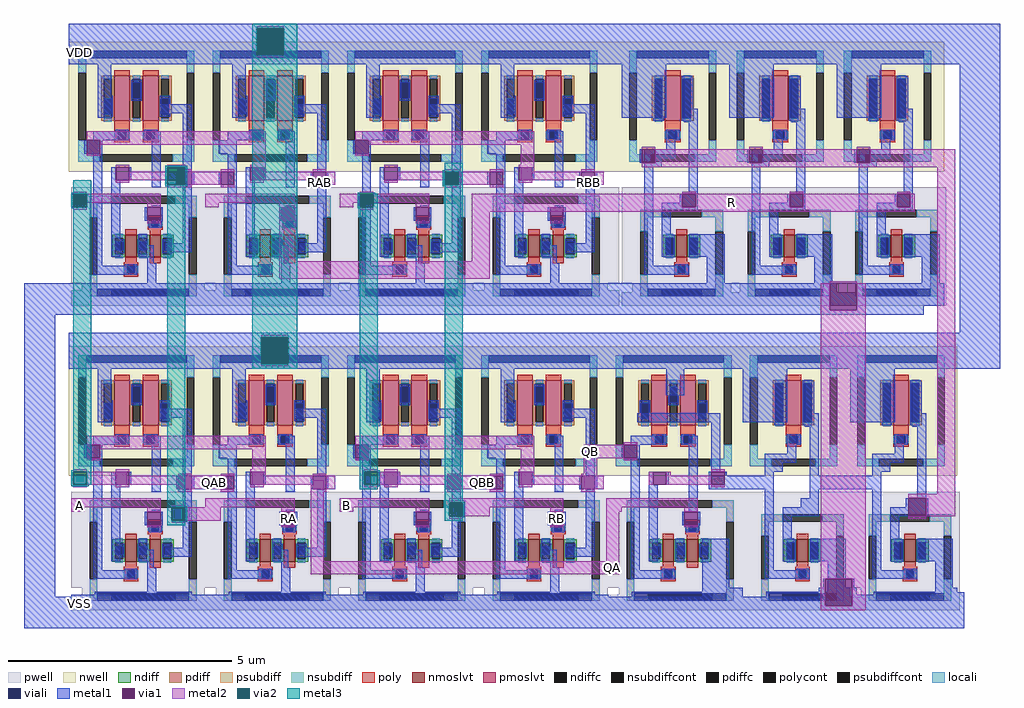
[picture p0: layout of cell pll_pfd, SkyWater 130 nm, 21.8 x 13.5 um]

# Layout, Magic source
magic
tech sky130A
magscale 1 2
<< metal1 >>
rect 0 2600 4160 2620
rect 0 2480 840 2600
rect 960 2480 4160 2600
rect 0 2440 4160 2480
rect 70 2040 80 2100
rect 140 2040 150 2100
rect 1270 2040 1280 2100
rect 1340 2040 1350 2100
rect 2550 2000 2560 2060
rect 2620 2000 2630 2060
rect 3030 2000 3040 2060
rect 3100 2000 3110 2060
rect 3510 2000 3520 2060
rect 3580 2000 3590 2060
rect 670 1900 680 1960
rect 740 1900 750 1960
rect 1870 1900 1880 1960
rect 1940 1900 1950 1960
rect 2730 1800 2740 1860
rect 2800 1800 2810 1860
rect 3210 1800 3220 1860
rect 3280 1800 3290 1860
rect 3690 1800 3700 1860
rect 3760 1800 3770 1860
rect -200 1340 3400 1460
rect 3520 1340 3820 1460
rect -200 1320 3820 1340
rect -200 60 -60 1320
rect 3980 1240 4160 2440
rect 0 1220 4160 1240
rect 0 1100 860 1220
rect 980 1100 4160 1220
rect 0 1080 4160 1100
rect 70 680 80 740
rect 140 680 150 740
rect 1270 680 1280 740
rect 1340 680 1350 740
rect 2470 680 2480 740
rect 2540 680 2550 740
rect 670 540 680 600
rect 740 540 750 600
rect 1870 540 1880 600
rect 1940 540 1950 600
rect 2860 540 3140 600
rect 3320 540 3610 600
rect 3740 420 3750 500
rect 3830 420 3840 500
rect 3370 100 3380 140
rect 3350 60 3380 100
rect -200 20 3380 60
rect 3500 100 3510 140
rect 3500 70 3520 100
rect 3940 70 4000 80
rect 3500 20 4000 70
rect -200 -80 4000 20
<< via1 >>
rect 840 2480 960 2600
rect 80 2040 140 2100
rect 1280 2040 1340 2100
rect 2560 2000 2620 2060
rect 3040 2000 3100 2060
rect 3520 2000 3580 2060
rect 680 1900 740 1960
rect 1880 1900 1940 1960
rect 2740 1800 2800 1860
rect 3220 1800 3280 1860
rect 3700 1800 3760 1860
rect 3400 1340 3520 1460
rect 860 1100 980 1220
rect 80 680 140 740
rect 1280 680 1340 740
rect 2480 680 2540 740
rect 680 540 740 600
rect 1880 540 1940 600
rect 3750 420 3830 500
rect 3380 20 3500 140
<< metal2 >>
rect 840 2600 960 2610
rect 840 2470 960 2480
rect 80 2100 880 2140
rect 140 2080 880 2100
rect 80 2030 140 2040
rect 440 1980 520 1990
rect 680 1960 740 1970
rect 520 1900 680 1960
rect 820 1920 880 2080
rect 1280 2100 2080 2140
rect 1340 2080 2080 2100
rect 1280 2030 1340 2040
rect 1680 1960 1740 1970
rect 1880 1960 1940 1970
rect 440 1890 520 1900
rect 680 1890 740 1900
rect 1740 1900 1880 1960
rect 2020 1920 2080 2080
rect 2560 2060 2620 2070
rect 3040 2060 3100 2070
rect 3520 2060 3580 2070
rect 2620 2000 3040 2060
rect 3100 2000 3520 2060
rect 3580 2000 3960 2060
rect 2560 1980 3960 2000
rect 1680 1890 1740 1900
rect 1880 1890 1940 1900
rect 20 1860 80 1870
rect 1300 1860 1360 1870
rect 2740 1860 2800 1870
rect 3220 1860 3280 1870
rect 3700 1860 3760 1870
rect 20 1790 80 1800
rect 940 1560 1020 1820
rect 1300 1790 1360 1800
rect 1800 1800 2740 1860
rect 2800 1800 3220 1860
rect 3280 1800 3700 1860
rect 3760 1800 3780 1860
rect 1800 1780 3780 1800
rect 1800 1560 1880 1780
rect 940 1480 1880 1560
rect 3400 1460 3520 1470
rect 3360 1340 3400 1460
rect 3520 1340 3560 1460
rect 860 1220 980 1230
rect 860 1090 980 1100
rect 80 740 880 780
rect 140 720 880 740
rect 80 670 140 680
rect 20 620 80 630
rect 80 560 260 620
rect 680 600 740 610
rect 20 550 80 560
rect 480 540 680 600
rect 820 560 880 720
rect 1280 740 2080 780
rect 2480 740 2540 750
rect 1340 720 2080 740
rect 1280 670 1340 680
rect 1320 620 1380 630
rect 680 530 740 540
rect 460 460 520 470
rect 520 400 680 460
rect 460 390 520 400
rect 1080 220 1140 580
rect 1380 560 1480 620
rect 1880 600 1940 610
rect 1320 550 1380 560
rect 1680 540 1880 600
rect 2020 560 2080 720
rect 2300 680 2480 740
rect 2300 540 2360 680
rect 2480 670 2540 680
rect 1880 530 1940 540
rect 1700 480 1880 500
rect 1760 420 1880 480
rect 1700 410 1760 420
rect 2400 220 2460 500
rect 1080 160 2460 220
rect 3360 140 3560 1340
rect 3880 520 3960 1980
rect 3750 500 3960 520
rect 3830 420 3960 500
rect 3750 410 3830 420
rect 3360 20 3380 140
rect 3500 20 3560 140
rect 3360 0 3560 20
<< via2 >>
rect 840 2480 960 2600
rect 440 1900 520 1980
rect 1680 1900 1740 1960
rect 20 1800 80 1860
rect 1300 1800 1360 1860
rect 860 1100 980 1220
rect 20 560 80 620
rect 460 400 520 460
rect 1320 560 1380 620
rect 1700 420 1760 480
<< metal3 >>
rect 820 2600 1020 2620
rect 820 2480 840 2600
rect 960 2480 1020 2600
rect 430 1980 530 1985
rect 20 1865 100 1920
rect 430 1900 440 1980
rect 520 1900 530 1980
rect 430 1895 530 1900
rect 10 1860 100 1865
rect 10 1800 20 1860
rect 80 1800 100 1860
rect 10 1795 100 1800
rect 20 625 100 1795
rect 10 620 100 625
rect 10 560 20 620
rect 80 560 100 620
rect 10 555 90 560
rect 440 465 520 1895
rect 820 1220 1020 2480
rect 1680 1965 1760 2000
rect 1670 1960 1760 1965
rect 1670 1900 1680 1960
rect 1740 1900 1760 1960
rect 1670 1895 1760 1900
rect 1290 1860 1370 1865
rect 1290 1800 1300 1860
rect 1360 1800 1380 1860
rect 1290 1795 1380 1800
rect 820 1100 860 1220
rect 980 1100 1020 1220
rect 820 1080 1020 1100
rect 1300 625 1380 1795
rect 1300 620 1390 625
rect 1300 560 1320 620
rect 1380 560 1390 620
rect 1300 555 1390 560
rect 1300 540 1380 555
rect 1680 485 1760 1895
rect 1680 480 1770 485
rect 440 460 530 465
rect 440 400 460 460
rect 520 400 530 460
rect 1680 420 1700 480
rect 1760 420 1770 480
rect 1680 415 1770 420
rect 1680 400 1760 415
rect 440 395 530 400
rect 440 380 520 395
use pll_inv1  pll_inv1_0
transform 1 0 3110 0 1 60
box -110 -60 390 1120
use pll_inv1  pll_inv1_1
transform 1 0 3050 0 1 1420
box -110 -60 390 1120
use pll_inv1  pll_inv1_2
transform 1 0 3590 0 1 60
box -110 -60 390 1120
use pll_inv1  pll_inv1_3
transform 1 0 2570 0 1 1420
box -110 -60 390 1120
use pll_inv1  pll_inv1_4
transform 1 0 3530 0 1 1420
box -110 -60 390 1120
use pll_nand  pll_nand_0
transform 1 0 2510 0 1 60
box -110 -60 550 1120
use pll_nor  pll_nor_0
transform 1 0 710 0 1 1420
box -110 -60 550 1120
use pll_nor  pll_nor_1
transform 1 0 110 0 1 1420
box -110 -60 550 1120
use pll_nor  pll_nor_2
transform 1 0 1910 0 1 1420
box -110 -60 550 1120
use pll_nor  pll_nor_3
transform 1 0 1310 0 1 1420
box -110 -60 550 1120
use pll_nor  pll_nor_4
transform 1 0 1310 0 1 60
box -110 -60 550 1120
use pll_nor  pll_nor_5
transform 1 0 1910 0 1 60
box -110 -60 550 1120
use pll_nor  pll_nor_6
transform 1 0 710 0 1 60
box -110 -60 550 1120
use pll_nor  pll_nor_7
transform 1 0 110 0 1 60
box -110 -60 550 1120
<< labels >>
flabel metal2 20 440 80 500 0 FreeSans 1280 0 0 0 A
port 0 nsew
flabel metal2 1210 440 1270 500 0 FreeSans 1280 0 0 0 B
port 1 nsew
flabel metal2 2400 160 2460 220 0 FreeSans 1280 0 0 0 QA
port 2 nsew
flabel metal2 2300 680 2360 740 0 FreeSans 1280 0 0 0 QB
port 3 nsew
flabel metal2 2920 1780 3000 1860 0 FreeSans 1280 0 0 0 R
port 4 nsew
flabel metal2 620 540 680 600 0 FreeSans 640 0 0 0 QAB
flabel metal2 1820 540 1880 600 0 FreeSans 640 0 0 0 QBB
flabel metal2 1090 1900 1150 1920 0 FreeSans 640 0 0 0 RAB
flabel metal2 2290 1900 2350 1920 0 FreeSans 640 0 0 0 RBB
flabel metal1 0 2440 100 2540 0 FreeSans 1280 0 0 0 VDD
port 6 nsew
flabel metal2 2150 380 2210 440 0 FreeSans 640 0 0 0 RB
flabel metal2 950 380 1010 440 0 FreeSans 640 0 0 0 RA
flabel metal1 0 0 100 60 0 FreeSans 1280 0 0 0 VSS
port 5 nsew
<< end >>

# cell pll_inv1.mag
magic
tech sky130A
magscale 1 2
<< nwell >>
rect -110 540 380 1120
<< pwell >>
rect -100 40 390 470
rect 280 0 390 40
rect -100 -60 390 0
<< metal1 >>
rect -100 1020 380 1120
rect -100 780 100 1020
rect 180 820 220 960
rect 180 760 240 820
rect 100 640 140 720
rect 0 600 140 640
rect 0 560 80 600
rect 0 120 40 560
rect 200 440 240 760
rect 160 400 240 440
rect 80 360 240 400
rect 80 160 120 360
rect 200 160 360 260
rect 0 80 200 120
rect 280 40 360 160
rect 280 0 380 40
rect -100 -60 380 0
use sky130_fd_pr__nfet_01v8_lvt_CEX9U3  sky130_fd_pr__nfet_01v8_lvt_CEX9U3_0
transform 1 0 168 0 1 176
box -221 -229 221 229
use sky130_fd_pr__pfet_01v8_lvt_6U8WF4  sky130_fd_pr__pfet_01v8_lvt_6U8WF4_0
transform 1 0 128 0 1 831
box -231 -284 231 284
<< labels >>
flabel metal1 -100 1020 0 1120 0 FreeSans 800 0 0 0 VDD
port 3 nsew
flabel metal1 -60 -60 40 0 0 FreeSans 800 0 0 0 VSS
port 4 nsew
flabel metal1 160 360 240 440 0 FreeSans 800 0 0 0 Q
port 5 nsew
flabel metal1 0 580 60 640 0 FreeSans 800 0 0 0 A
port 0 nsew
<< end >>

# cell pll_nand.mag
magic
tech sky130A
magscale 1 2
<< nwell >>
rect -110 540 550 1120
<< pwell >>
rect -100 80 550 470
rect 320 0 550 80
rect -100 -60 550 0
<< metal1 >>
rect -100 1020 500 1120
rect 160 900 240 1020
rect 30 780 400 820
rect 0 680 140 720
rect -40 620 40 680
rect 0 120 40 620
rect 80 500 100 560
rect 160 500 170 560
rect 80 160 120 500
rect 260 380 300 720
rect 360 560 400 780
rect 350 500 360 560
rect 420 500 430 560
rect 230 320 240 380
rect 300 320 310 380
rect 260 300 300 320
rect 200 160 240 260
rect 0 80 200 120
rect 320 40 440 260
rect 320 0 500 40
rect -100 -60 500 0
<< via1 >>
rect 100 500 160 560
rect 360 500 420 560
rect 240 320 300 380
<< metal2 >>
rect 360 560 420 570
rect 80 500 100 560
rect 160 540 180 560
rect 160 500 360 540
rect 360 490 420 500
rect -100 400 300 440
rect -100 380 -40 400
rect 240 380 300 400
rect 240 310 300 320
use sky130_fd_pr__nfet_01v8_lvt_ZDUAWA  sky130_fd_pr__nfet_01v8_lvt_ZDUAWA_0
transform 1 0 222 0 1 207
box -275 -260 275 260
use sky130_fd_pr__pfet_01v8_lvt_UT4KY6  sky130_fd_pr__pfet_01v8_lvt_UT4KY6_0
transform 1 0 192 0 1 831
box -295 -284 295 284
<< labels >>
flabel metal2 -100 380 -40 440 0 FreeSans 800 0 0 0 B
port 1 nsew
flabel metal1 -100 1020 0 1120 0 FreeSans 800 0 0 0 VDD
port 3 nsew
flabel metal1 -60 -60 40 0 0 FreeSans 800 0 0 0 VSS
port 4 nsew
flabel metal1 -40 620 20 680 0 FreeSans 800 0 0 0 A
port 0 nsew
flabel metal2 360 500 420 560 0 FreeSans 800 0 0 0 Q
port 2 nsew
<< end >>

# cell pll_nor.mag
magic
tech sky130A
magscale 1 2
<< nwell >>
rect -110 540 550 1120
<< pwell >>
rect -100 40 550 470
rect 240 10 280 40
rect -100 -60 550 10
<< metal1 >>
rect -100 1020 500 1120
rect 20 780 80 1020
rect 300 800 440 840
rect 0 680 140 720
rect -40 620 40 680
rect 0 120 40 620
rect 80 500 100 560
rect 160 500 170 560
rect 80 160 120 500
rect 260 470 300 720
rect 400 540 440 800
rect 370 480 380 540
rect 440 480 450 540
rect 260 380 300 390
rect 230 320 240 380
rect 300 320 310 380
rect 260 300 300 320
rect 200 210 240 260
rect 400 220 440 480
rect 200 160 270 210
rect 320 180 440 220
rect 240 130 270 160
rect 0 80 180 120
rect 240 10 280 130
rect -100 -60 500 10
<< via1 >>
rect 100 500 160 560
rect 380 480 440 540
rect 240 320 300 380
<< metal2 >>
rect 100 560 160 570
rect 380 540 440 550
rect 160 500 380 540
rect 100 490 160 500
rect 440 480 480 540
rect 380 470 440 480
rect -100 400 300 440
rect -100 380 -40 400
rect 240 380 300 400
rect 240 310 300 320
use sky130_fd_pr__nfet_01v8_lvt_ZDUAWA  sky130_fd_pr__nfet_01v8_lvt_ZDUAWA_0
transform 1 0 222 0 1 207
box -275 -260 275 260
use sky130_fd_pr__pfet_01v8_lvt_UT4KY6  sky130_fd_pr__pfet_01v8_lvt_UT4KY6_0
transform 1 0 192 0 1 831
box -295 -284 295 284
<< labels >>
flabel metal2 -100 380 -40 440 0 FreeSans 800 0 0 0 B
port 1 nsew
flabel metal2 420 480 480 540 0 FreeSans 800 0 0 0 Q
port 2 nsew
flabel metal1 -100 1020 0 1120 0 FreeSans 800 0 0 0 VDD
port 3 nsew
flabel metal1 -60 -60 40 10 0 FreeSans 800 0 0 0 VSS
port 4 nsew
flabel metal1 -40 620 20 680 0 FreeSans 800 0 0 0 A
port 0 nsew
<< end >>

# cell sky130_fd_pr__nfet_01v8_lvt_ZDUAWA: kit device sky130_fd_pr__nfet_01v8_lvt, w 0.5 l 0.25 m 1 nf 2 diffcov 100 polycov 100 guard 1 glc 1 grc 1 gtc 1 gbc 1 tbcov 100 rlcov 100 topc 1 botc 0 poverlap 0 doverlap 1 lmin 0.15 wmin 0.42 compatible {sky130_fd_pr__nfet_01v8 sky130_fd_pr__nfet_01v8_lvt sky130_fd_bs_flash__special_sonosfet_star sky130_fd_pr__nfet_g5v0d10v5 sky130_fd_pr__nfet_05v0_nvt sky130_fd_pr__nfet_03v3_nvt} full_metal 1 viasrc 50 viadrn 50 viagate 100 viagb 100 viagr 0 viagl 0 viagt 0

# cell sky130_fd_pr__pfet_01v8_lvt_UT4KY6: kit device sky130_fd_pr__pfet_01v8_lvt, w 1 l 0.35 m 1 nf 2 diffcov 100 polycov 100 guard 1 glc 1 grc 1 gtc 0 gbc 1 tbcov 100 rlcov 100 topc 0 botc 1 poverlap 0 doverlap 1 lmin 0.35 wmin 0.42 compatible {sky130_fd_pr__pfet_01v8 sky130_fd_pr__pfet_01v8_lvt sky130_fd_pr__pfet_01v8_hvt sky130_fd_pr__pfet_g5v0d10v5} full_metal 1 viasrc -40 viadrn +40 viagate 100 viagb 0 viagr 0 viagl 0 viagt 100

# cell sky130_fd_pr__nfet_01v8_lvt_CEX9U3: kit device sky130_fd_pr__nfet_01v8_lvt, w 0.5 l 0.25 m 1 nf 1 diffcov 100 polycov 100 guard 1 glc 1 grc 1 gtc 1 gbc 1 tbcov 100 rlcov 100 topc 0 botc 1 poverlap 0 doverlap 1 lmin 0.15 wmin 0.42 compatible {sky130_fd_pr__nfet_01v8 sky130_fd_pr__nfet_01v8_lvt sky130_fd_bs_flash__special_sonosfet_star sky130_fd_pr__nfet_g5v0d10v5 sky130_fd_pr__nfet_05v0_nvt sky130_fd_pr__nfet_03v3_nvt} full_metal 1 viasrc 100 viadrn 100 viagate 100 viagb 100 viagr 0 viagl 0 viagt 0

# cell sky130_fd_pr__pfet_01v8_lvt_6U8WF4: kit device sky130_fd_pr__pfet_01v8_lvt, w 1 l 0.35 m 1 nf 1 diffcov 100 polycov 100 guard 1 glc 1 grc 1 gtc 0 gbc 1 tbcov 100 rlcov 100 topc 0 botc 1 poverlap 0 doverlap 1 lmin 0.35 wmin 0.42 compatible {sky130_fd_pr__pfet_01v8 sky130_fd_pr__pfet_01v8_lvt sky130_fd_pr__pfet_01v8_hvt sky130_fd_pr__pfet_g5v0d10v5} full_metal 1 viasrc 100 viadrn 100 viagate 100 viagb 0 viagr 0 viagl 0 viagt 100
